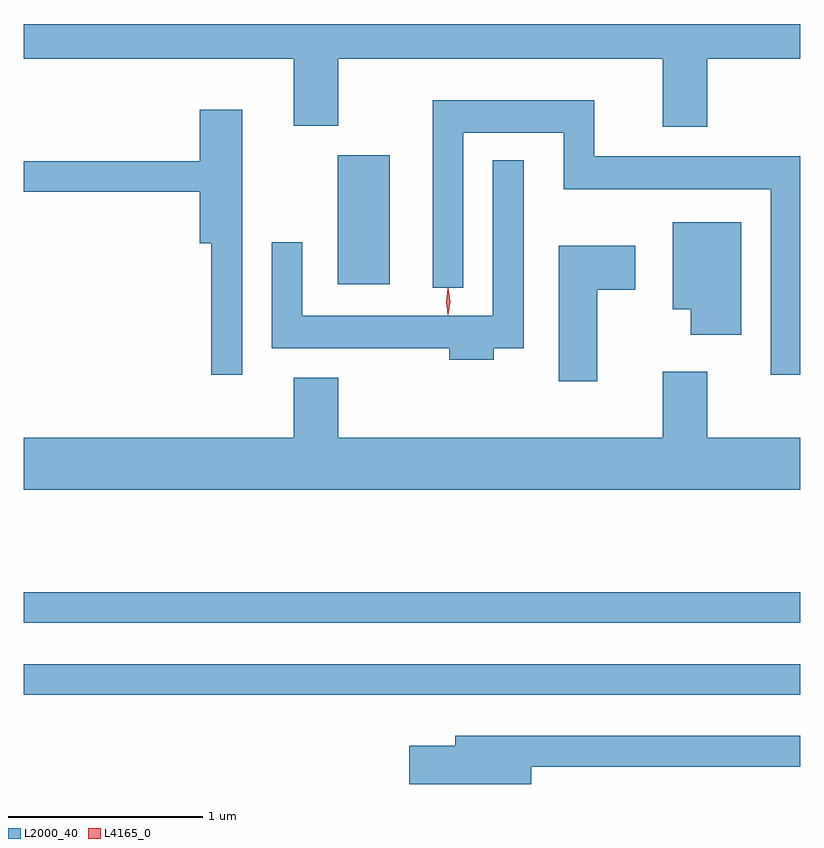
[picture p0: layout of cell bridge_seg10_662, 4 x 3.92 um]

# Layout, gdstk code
import gdstk
lib = gdstk.Library(unit=1e-6, precision=1e-09)
def R(c, l, rs):  # rectangles x0, y0, x1, y1
    for r in rs: c.add(gdstk.rectangle(r[:2], r[2:], *l))
def P(c, l, *ps):  # polygons
    for p in ps: c.add(gdstk.Polygon(p, *l))
L2000_40 = (2000, 40)
L4165_0 = (4165, 0)

bridge_seg10_662 = lib.new_cell('bridge_seg10_662')
R(bridge_seg10_662, L2000_40, [(954.759,2110.641,958.759,2110.799), (954.759,2111.011,958.759,2111.169), (956.376,2112.756,956.644,2113.419)])
P(bridge_seg10_662, L2000_40, [(958.279,2113.916),(958.759,2113.916),(958.759,2114.096),(954.759,2114.096),(954.759,2113.916),(956.151,2113.916),(956.151,2113.571),(956.379,2113.571),(956.379,2113.916),(958.051,2113.916),(958.051,2113.566),(958.279,2113.566)],
  [(958.759,2113.414),(957.699,2113.414),(957.699,2113.704),(956.866,2113.704),(956.866,2112.738),(957.024,2112.738),(957.024,2113.536),(957.541,2113.536),(957.541,2113.246),(958.606,2113.246),(958.606,2112.288),(958.759,2112.288)],
  [(955.884,2113.654),(955.666,2113.654),(955.666,2113.389),(954.759,2113.389),(954.759,2113.231),(955.666,2113.231),(955.666,2112.966),(955.726,2112.966),(955.726,2112.288),(955.884,2112.288)],
  [(957.179,2112.426),(957.334,2112.426),(957.334,2113.393),(957.176,2113.393),(957.176,2112.594),(956.194,2112.594),(956.194,2112.973),(956.036,2112.973),(956.036,2112.426),(956.951,2112.426),(956.951,2112.366),(957.179,2112.366)],
  [(958.454,2113.074),(958.101,2113.074),(958.101,2112.626),(958.196,2112.626),(958.196,2112.496),(958.454,2112.496)],
  [(957.714,2112.726),(957.909,2112.726),(957.909,2112.954),(957.516,2112.954),(957.516,2112.256),(957.714,2112.256)],
  [(958.759,2111.964),(958.279,2111.964),(958.279,2112.304),(958.051,2112.304),(958.051,2111.964),(956.379,2111.964),(956.379,2112.274),(956.151,2112.274),(956.151,2111.964),(954.759,2111.964),(954.759,2111.696),(958.759,2111.696)],
  [(957.374,2110.271),(958.759,2110.271),(958.759,2110.429),(956.981,2110.429),(956.981,2110.379),(956.746,2110.379),(956.746,2110.181),(957.374,2110.181)])
P(bridge_seg10_662, L4165_0, [(956.945,2112.599),(956.944,2112.6),(956.935,2112.666),(956.944,2112.732),(956.945,2112.733),(956.945,2112.732),(956.955,2112.666),(956.945,2112.6)],
  [(956.944,2112.597),(956.935,2112.666),(956.944,2112.736),(956.945,2112.736),(956.945,2112.736),(956.955,2112.666),(956.945,2112.597),(956.945,2112.597)])

lib.write_gds('bridge_seg10_662.gds')
